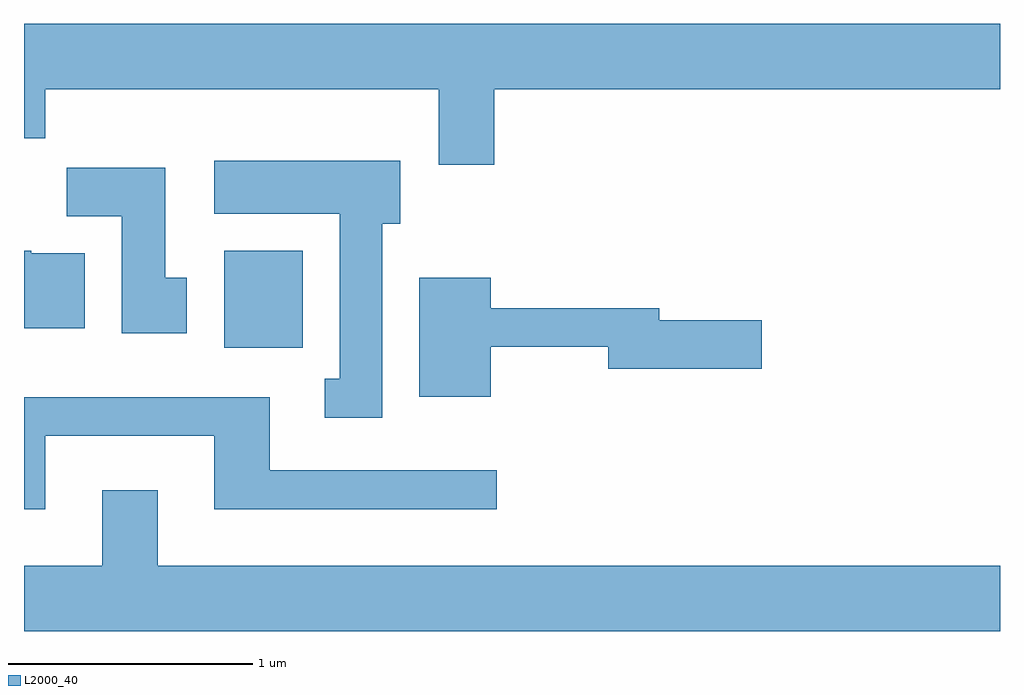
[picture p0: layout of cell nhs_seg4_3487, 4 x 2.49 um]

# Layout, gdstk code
import gdstk
lib = gdstk.Library(unit=1e-6, precision=1e-09)
def R(c, l, rs):  # rectangles x0, y0, x1, y1
    for r in rs: c.add(gdstk.rectangle(r[:2], r[2:], *l))
def P(c, l, *ps):  # polygons
    for p in ps: c.add(gdstk.Polygon(p, *l))
L2000_40 = (2000, 40)

nhs_seg4_3487 = lib.new_cell('nhs_seg4_3487')
R(nhs_seg4_3487, L2000_40, [(288.431,1293.676,288.754,1294.074)])
P(nhs_seg4_3487, L2000_40, [(289.539,1294.736),(291.611,1294.736),(291.611,1295.004),(287.611,1295.004),(287.611,1294.536),(287.699,1294.536),(287.699,1294.736),(289.311,1294.736),(289.311,1294.426),(289.539,1294.426)],
  [(289.079,1294.186),(289.154,1294.186),(289.154,1294.444),(288.391,1294.444),(288.391,1294.226),(288.906,1294.226),(288.906,1293.549),(288.843,1293.549),(288.843,1293.391),(289.079,1293.391)],
  [(288.279,1293.964),(288.189,1293.964),(288.189,1294.414),(287.786,1294.414),(287.786,1294.216),(288.011,1294.216),(288.011,1293.736),(288.279,1293.736)],
  [(287.859,1294.064),(287.64,1294.064),(287.64,1294.074),(287.611,1294.074),(287.611,1293.756),(287.859,1293.756)],
  [(289.524,1293.681),(290.006,1293.681),(290.006,1293.591),(290.634,1293.591),(290.634,1293.789),(290.214,1293.789),(290.214,1293.839),(289.524,1293.839),(289.524,1293.964),(289.231,1293.964),(289.231,1293.476),(289.524,1293.476)],
  [(287.699,1293.316),(288.391,1293.316),(288.391,1293.016),(289.548,1293.016),(289.548,1293.174),(288.619,1293.174),(288.619,1293.474),(287.611,1293.474),(287.611,1293.016),(287.699,1293.016)],
  [(291.611,1292.784),(288.159,1292.784),(288.159,1293.094),(287.931,1293.094),(287.931,1292.784),(287.611,1292.784),(287.611,1292.516),(291.611,1292.516)])

lib.write_gds('nhs_seg4_3487.gds')
